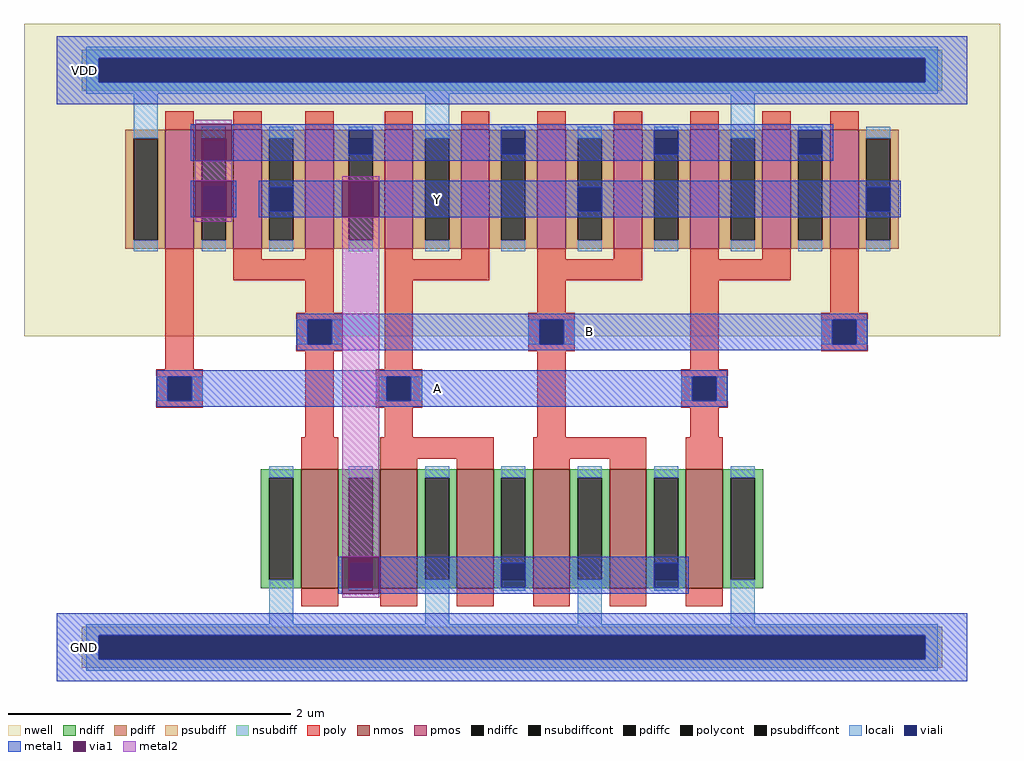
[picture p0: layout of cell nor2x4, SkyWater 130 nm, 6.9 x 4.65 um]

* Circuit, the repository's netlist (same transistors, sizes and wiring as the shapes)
** sch_path: /foss/designs/nor2x4.sch
.subckt nor2x4 A B VDD GND Y
*.PININFO A:I B:I VDD:B GND:B Y:O
XM1 Y A GND GND sky130_fd_pr__nfet_01v8 L=0.26 W=2.52 nf=3
XM3 net1 A VDD VDD sky130_fd_pr__pfet_01v8 L=0.2 W=4.2 nf=5
XM4 Y B net1 VDD sky130_fd_pr__pfet_01v8 L=0.2 W=4.2 nf=5
XM2 Y B GND GND sky130_fd_pr__nfet_01v8 L=0.26 W=2.52 nf=3
.ends

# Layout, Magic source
magic
tech sky130A
magscale 1 2
<< nwell >>
rect -46 440 1334 882
<< nmos >>
rect 346 84 398 252
rect 458 84 510 252
rect 566 84 618 252
rect 674 84 726 252
rect 782 84 834 252
rect 890 84 942 252
<< pmos >>
rect 154 564 194 732
rect 250 564 290 732
rect 352 564 392 732
rect 464 564 504 732
rect 572 564 612 732
rect 680 564 720 732
rect 788 564 828 732
rect 896 564 936 732
rect 998 564 1038 732
rect 1094 564 1134 732
<< ndiff >>
rect 289 240 346 252
rect 289 96 301 240
rect 335 96 346 240
rect 289 84 346 96
rect 398 240 458 252
rect 398 96 413 240
rect 447 96 458 240
rect 398 84 458 96
rect 510 240 566 252
rect 510 96 521 240
rect 555 96 566 240
rect 510 84 566 96
rect 618 240 674 252
rect 618 96 629 240
rect 663 96 674 240
rect 618 84 674 96
rect 726 240 782 252
rect 726 96 737 240
rect 771 96 782 240
rect 726 84 782 96
rect 834 240 890 252
rect 834 96 845 240
rect 879 96 890 240
rect 834 84 890 96
rect 942 240 999 252
rect 942 96 953 240
rect 987 96 999 240
rect 942 84 999 96
<< pdiff >>
rect 97 720 154 732
rect 97 576 109 720
rect 143 576 154 720
rect 97 564 154 576
rect 194 720 250 732
rect 194 576 205 720
rect 239 576 250 720
rect 194 564 250 576
rect 290 720 352 732
rect 290 576 301 720
rect 335 576 352 720
rect 290 564 352 576
rect 392 720 464 732
rect 392 576 413 720
rect 447 576 464 720
rect 392 564 464 576
rect 504 720 572 732
rect 504 576 521 720
rect 555 576 572 720
rect 504 564 572 576
rect 612 720 680 732
rect 612 576 629 720
rect 663 576 680 720
rect 612 564 680 576
rect 720 720 788 732
rect 720 576 737 720
rect 771 576 788 720
rect 720 564 788 576
rect 828 720 896 732
rect 828 576 845 720
rect 879 576 896 720
rect 828 564 896 576
rect 936 720 998 732
rect 936 576 953 720
rect 987 576 998 720
rect 936 564 998 576
rect 1038 720 1094 732
rect 1038 576 1049 720
rect 1083 576 1094 720
rect 1038 564 1094 576
rect 1134 720 1191 732
rect 1134 576 1145 720
rect 1179 576 1191 720
rect 1134 564 1191 576
<< ndiffc >>
rect 301 96 335 240
rect 413 96 447 240
rect 521 96 555 240
rect 629 96 663 240
rect 737 96 771 240
rect 845 96 879 240
rect 953 96 987 240
<< pdiffc >>
rect 109 576 143 720
rect 205 576 239 720
rect 301 576 335 720
rect 413 576 447 720
rect 521 576 555 720
rect 629 576 663 720
rect 737 576 771 720
rect 845 576 879 720
rect 953 576 987 720
rect 1049 576 1083 720
rect 1145 576 1179 720
<< psubdiff >>
rect 36 17 1252 29
rect 36 -17 60 17
rect 1228 -17 1252 17
rect 36 -29 1252 -17
<< nsubdiff >>
rect 36 833 1252 845
rect 36 799 60 833
rect 1228 799 1252 833
rect 36 787 1252 799
<< psubdiffcont >>
rect 60 -17 1228 17
<< nsubdiffcont >>
rect 60 799 1228 833
<< poly >>
rect 154 732 194 758
rect 250 732 290 758
rect 352 732 392 758
rect 464 732 504 758
rect 572 732 612 758
rect 680 732 720 758
rect 788 732 828 758
rect 896 732 936 758
rect 998 732 1038 758
rect 1094 732 1134 758
rect 154 393 194 564
rect 250 549 290 564
rect 352 549 392 564
rect 250 519 392 549
rect 352 473 392 519
rect 464 549 504 564
rect 572 549 612 564
rect 464 519 612 549
rect 680 549 720 564
rect 788 549 828 564
rect 680 519 828 549
rect 896 549 936 564
rect 998 549 1038 564
rect 896 519 1038 549
rect 339 463 405 473
rect 339 429 355 463
rect 389 429 405 463
rect 339 419 405 429
rect 141 383 207 393
rect 141 349 157 383
rect 191 349 207 383
rect 141 339 207 349
rect 352 297 392 419
rect 464 393 504 519
rect 680 473 720 519
rect 667 463 733 473
rect 667 429 683 463
rect 717 429 733 463
rect 667 419 733 429
rect 451 383 517 393
rect 451 349 467 383
rect 501 349 517 383
rect 451 339 517 349
rect 464 297 504 339
rect 680 297 720 419
rect 896 393 936 519
rect 1094 473 1134 564
rect 1081 463 1147 473
rect 1081 429 1097 463
rect 1131 429 1147 463
rect 1081 419 1147 429
rect 883 383 949 393
rect 883 349 899 383
rect 933 349 949 383
rect 883 339 949 349
rect 896 297 936 339
rect 346 252 398 297
rect 458 267 618 297
rect 458 252 510 267
rect 566 252 618 267
rect 674 267 834 297
rect 674 252 726 267
rect 782 252 834 267
rect 890 252 942 297
rect 346 58 398 84
rect 458 58 510 84
rect 566 58 618 84
rect 674 58 726 84
rect 782 58 834 84
rect 890 58 942 84
<< polycont >>
rect 355 429 389 463
rect 157 349 191 383
rect 683 429 717 463
rect 467 349 501 383
rect 1097 429 1131 463
rect 899 349 933 383
<< locali >>
rect 42 833 1246 849
rect 42 799 60 833
rect 1228 799 1246 833
rect 42 783 1246 799
rect 109 720 143 783
rect 109 560 143 576
rect 205 720 239 736
rect 205 560 239 576
rect 301 720 335 736
rect 301 560 335 576
rect 413 731 447 736
rect 413 560 447 576
rect 521 720 555 783
rect 521 560 555 576
rect 629 731 663 736
rect 629 560 663 576
rect 737 720 771 736
rect 737 560 771 576
rect 845 731 879 736
rect 845 560 879 576
rect 953 720 987 783
rect 953 560 987 576
rect 1049 731 1083 736
rect 1049 560 1083 576
rect 1145 720 1179 736
rect 1145 560 1179 576
rect 339 429 355 463
rect 389 429 405 463
rect 667 429 683 463
rect 717 429 733 463
rect 1081 429 1097 463
rect 1131 429 1147 463
rect 141 349 157 383
rect 191 349 207 383
rect 451 349 467 383
rect 501 349 517 383
rect 883 349 899 383
rect 933 349 949 383
rect 301 240 335 256
rect 301 33 335 96
rect 413 240 447 256
rect 413 80 447 85
rect 521 240 555 256
rect 521 33 555 96
rect 629 240 663 256
rect 629 80 663 85
rect 737 240 771 256
rect 737 33 771 96
rect 845 240 879 256
rect 845 80 879 85
rect 953 240 987 256
rect 953 33 987 96
rect 42 17 1246 33
rect 42 -17 60 17
rect 1228 -17 1246 17
rect 42 -33 1246 -17
<< viali >>
rect 60 799 1228 833
rect 205 617 239 651
rect 301 617 335 651
rect 413 720 447 731
rect 413 697 447 720
rect 629 720 663 731
rect 629 697 663 720
rect 737 617 771 651
rect 845 720 879 731
rect 845 697 879 720
rect 1049 720 1083 731
rect 1049 697 1083 720
rect 1145 617 1179 651
rect 355 429 389 463
rect 683 429 717 463
rect 1097 429 1131 463
rect 157 349 191 383
rect 467 349 501 383
rect 899 349 933 383
rect 413 96 447 119
rect 413 85 447 96
rect 629 96 663 119
rect 629 85 663 96
rect 845 96 879 119
rect 845 85 879 96
rect 60 -17 1228 17
<< metal1 >>
rect 0 833 1288 864
rect 0 799 60 833
rect 1228 799 1288 833
rect 0 768 1288 799
rect 190 688 196 740
rect 248 731 1098 740
rect 248 697 413 731
rect 447 697 629 731
rect 663 697 845 731
rect 879 697 1049 731
rect 1083 697 1098 731
rect 248 688 1098 697
rect 190 608 196 660
rect 248 608 254 660
rect 286 651 404 660
rect 286 617 301 651
rect 335 617 404 651
rect 286 608 404 617
rect 456 651 1194 660
rect 456 617 737 651
rect 771 617 1145 651
rect 1179 617 1194 651
rect 456 608 1194 617
rect 340 463 1146 472
rect 340 429 355 463
rect 389 429 683 463
rect 717 429 1097 463
rect 1131 429 1146 463
rect 340 420 1146 429
rect 142 383 948 392
rect 142 349 157 383
rect 191 349 467 383
rect 501 349 899 383
rect 933 349 948 383
rect 142 340 948 349
rect 398 76 404 128
rect 456 119 894 128
rect 456 85 629 119
rect 663 85 845 119
rect 879 85 894 119
rect 456 76 894 85
rect 0 17 1288 48
rect 0 -17 60 17
rect 1228 -17 1288 17
rect 0 -48 1288 -17
<< via1 >>
rect 196 688 248 740
rect 196 651 248 660
rect 196 617 205 651
rect 205 617 239 651
rect 239 617 248 651
rect 196 608 248 617
rect 404 608 456 660
rect 404 119 456 128
rect 404 85 413 119
rect 413 85 447 119
rect 447 85 456 119
rect 404 76 456 85
<< metal2 >>
rect 196 740 248 746
rect 196 660 248 688
rect 196 602 248 608
rect 404 660 456 666
rect 404 128 456 608
rect 404 70 456 76
<< labels >>
rlabel metal1 515 343 561 389 0 A
port 1 nsew
rlabel metal1 731 423 777 469 0 B
port 2 nsew
rlabel metal1 10 780 70 852 0 VDD
port 3 nsew
rlabel metal1 10 -36 70 36 0 GND
port 4 nsew
rlabel metal1 515 611 561 657 0 Y
port 5 nsew
<< properties >>
string FIXED_BBOX 0 0 1288 816
<< end >>
